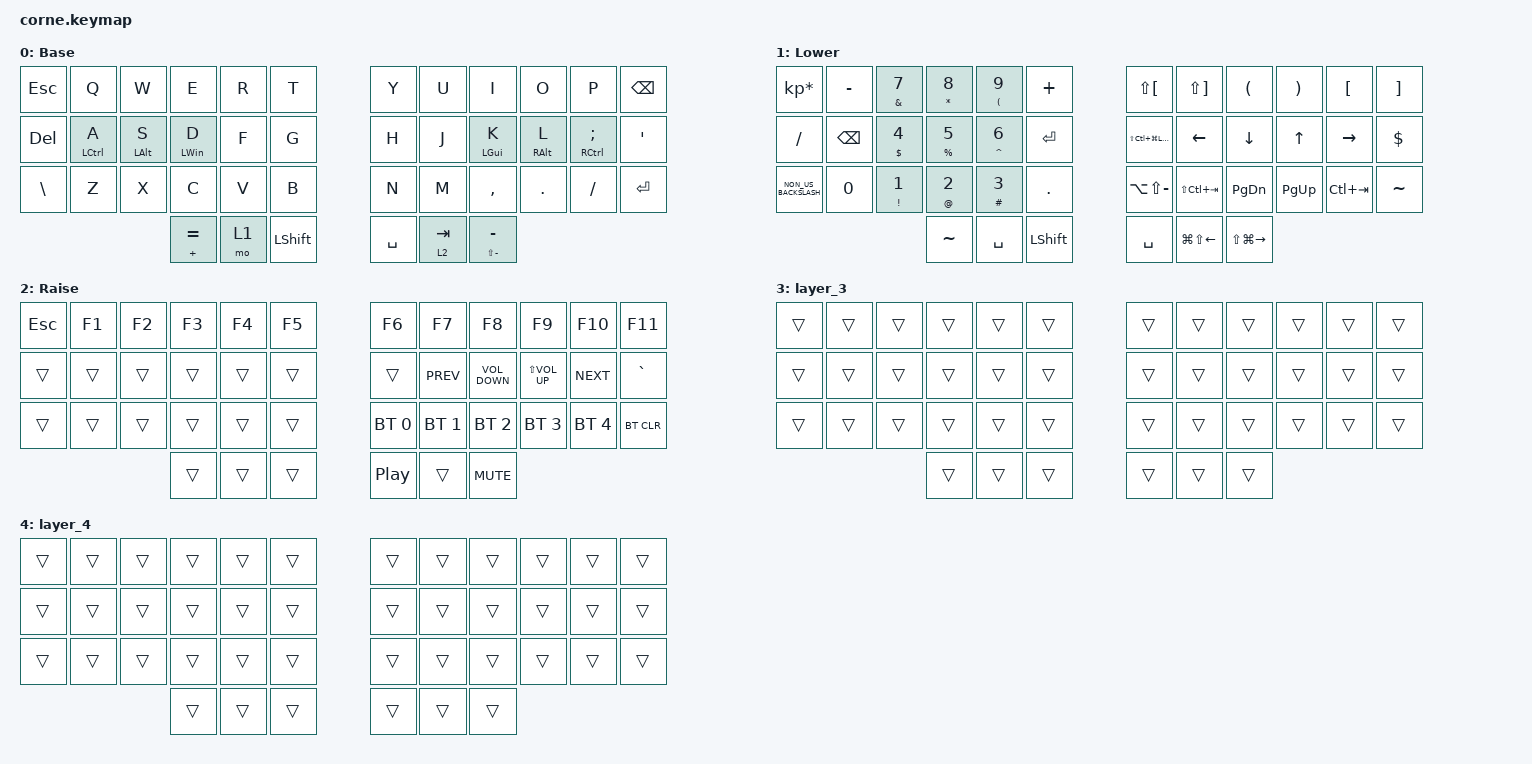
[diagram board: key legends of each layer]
/*
 * Copyright (c) 2020 The ZMK Contributors
 *
 * SPDX-License-Identifier: MIT
 */

#include <behaviors.dtsi>
#include <dt-bindings/zmk/bt.h>
#include <dt-bindings/zmk/keys.h>

&pinctrl {
    spi0_default: spi0_default {
        group1 {
            psels = <NRF_PSEL(SPIM_SCK, 0, 20)>,
                    <NRF_PSEL(SPIM_MOSI, 0, 17)>,
                    <NRF_PSEL(SPIM_MISO, 0, 25)>;
        };
    };

    spi0_sleep: spi0_sleep {
        group1 {
            psels = <NRF_PSEL(SPIM_SCK, 0, 20)>,
                    <NRF_PSEL(SPIM_MOSI, 0, 17)>,
                    <NRF_PSEL(SPIM_MISO, 0, 25)>;
            low-power-enable;
        };
    };
};

&nice_view_spi {
    status = "okay";
    compatible = "nordic,nrf-spim";
    pinctrl-0 = <&spi0_default>;
    pinctrl-1 = <&spi0_sleep>;
    pinctrl-names = "default", "sleep";
};

/ {
    behaviors {
        HMR: HMR {
            compatible = "zmk,behavior-hold-tap";
            label = "HMR";
            bindings = <&kp>, <&kp>;

            #binding-cells = <2>;
            tapping-term-ms = <280>;
            quick-tap-ms = <175>;
            flavor = "tap-preferred";
            hold-trigger-key-positions = <0 1 2 3 4 5 12 13 14 15 16 17 24 25 26 27 28 29 36 37 38 39 40 41>;
            hold-trigger-on-release;
        };

        HML: HML {
            compatible = "zmk,behavior-hold-tap";
            label = "HML";
            bindings = <&kp>, <&kp>;

            #binding-cells = <2>;
            tapping-term-ms = <280>;
            quick-tap-ms = <175>;
            flavor = "tap-preferred";
            hold-trigger-on-release;
            hold-trigger-key-positions = <36 37 38 6 7 8 9 10 11 18 19 20 21 22 23 30 31 32 33 34 35 39 40 41>;
        };
    };

    keymap {
        compatible = "zmk,keymap";

        default_layer {
            // -----------------------------------------------------------------------------------------
            // |  TAB |  Q  |  W  |  E  |  R  |  T  |   |  Y  |  U   |  I  |  O  |  P  | BKSP |
            // | CTRL |  A  |  S  |  D  |  F  |  G  |   |  H  |  J   |  K  |  L  |  ;  |  '   |
            // | SHFT |  Z  |  X  |  C  |  V  |  B  |   |  N  |  M   |  ,  |  .  |  /  | ESC  |
            //                    | GUI | LWR | SPC |   | ENT | RSE  | ALT |

            display-name = "Base";
            bindings = <
&kp ESCAPE     &kp Q                &kp W            &kp E            &kp R  &kp T             &kp Y      &kp U      &kp I                 &kp O             &kp P                         &kp BSPC
&kp DEL        &HML LEFT_CONTROL A  &HML LEFT_ALT S  &HML LEFT_WIN D  &kp F  &kp G             &kp H      &kp J      &HMR LEFT_GUI K       &HMR RIGHT_ALT L  &HMR RIGHT_CONTROL SEMICOLON  &kp SQT
&kp BACKSLASH  &kp Z                &kp X            &kp C            &kp V  &kp B             &kp N      &kp M      &kp COMMA             &kp DOT           &kp FSLH                      &kp ENTER
                                                     &HML PLUS EQUAL  &mo 1  &kp LEFT_SHIFT    &kp SPACE  &lt 2 TAB  &HMR LS(MINUS) MINUS
            >;
        };

        lower_layer {
            // -----------------------------------------------------------------------------------------
            // |  TAB |  1  |  2  |  3  |  4  |  5  |   |  6  |  7  |  8  |  9  |  0  | BKSP |
            // | BTCLR| BT1 | BT2 | BT3 | BT4 | BT5 |   | LFT | DWN |  UP | RGT |     |      |
            // | SHFT |     |     |     |     |     |   |     |     |     |     |     |      |
            //                    | GUI |     | SPC |   | ENT |     | ALT |

            display-name = "Lower";
            bindings = <
&kp KP_MULTIPLY       &kp MINUS      &mt AMPERSAND N7          &mt ASTERISK N8       &mt LEFT_PARENTHESIS N9  &kp PLUS          &kp LS(LEFT_BRACKET)      &kp LS(RIGHT_BRACKET)  &kp LEFT_PARENTHESIS  &kp RIGHT_PARENTHESIS  &kp LEFT_BRACKET  &kp RIGHT_BRACKET
&kp SLASH             &kp BACKSPACE  &mt DOLLAR NUMBER_4       &mt PERCENT N5        &mt CARET NUMBER_6       &kp ENTER         &kp LS(LC(LG(LEFT_ALT)))  &kp LEFT               &kp DOWN              &kp UP_ARROW           &kp RIGHT_ARROW   &kp DOLLAR
&kp NON_US_BACKSLASH  &kp N0         &mt EXCLAMATION NUMBER_1  &mt AT_SIGN NUMBER_2  &mt HASH NUMBER_3        &kp PERIOD        &kp LA(LS(MINUS))         &kp LS(LC(TAB))        &kp PAGE_DOWN         &kp PG_UP              &kp LC(TAB)       &kp TILDE
                                                               &kp TILDE             &kp SPACE                &kp LEFT_SHIFT    &kp SPACE                 &kp LG(LS(LEFT))       &kp LS(LG(RIGHT))
            >;
        };

        raise_layer {
            // -----------------------------------------------------------------------------------------
            // |  TAB |  !  |  @  |  #  |  $  |  %  |   |  ^  |  &  |  *  |  (  |  )  | BKSP |
            // | CTRL |     |     |     |     |     |   |  -  |  =  |  [  |  ]  |  \  |  `   |
            // | SHFT |     |     |     |     |     |   |  _  |  +  |  {  |  }  | "|" |  ~   |
            //                    | GUI |     | SPC |   | ENT |     | ALT |

            display-name = "Raise";
            bindings = <
&kp ESC  &kp F1  &kp F2  &kp F3  &kp F4  &kp F5    &kp F6            &kp F7        &kp F8             &kp F9            &kp F10       &kp F11
&trans   &trans  &trans  &trans  &trans  &trans    &trans            &kp C_PREV    &kp K_VOLUME_DOWN  &kp LS(K_VOL_UP)  &kp C_NEXT    &kp GRAVE
&trans   &trans  &trans  &trans  &trans  &trans    &bt BT_SEL 0      &bt BT_SEL 1  &bt BT_SEL 2       &bt BT_SEL 3      &bt BT_SEL 4  &bt BT_CLR
                         &trans  &trans  &trans    &kp C_PLAY_PAUSE  &trans        &kp C_MUTE
            >;
        };

        layer_3 {
            bindings = <
&trans  &trans  &trans  &trans  &trans  &trans    &trans  &trans  &trans  &trans  &trans  &trans
&trans  &trans  &trans  &trans  &trans  &trans    &trans  &trans  &trans  &trans  &trans  &trans
&trans  &trans  &trans  &trans  &trans  &trans    &trans  &trans  &trans  &trans  &trans  &trans
                        &trans  &trans  &trans    &trans  &trans  &trans
            >;
        };

        layer_4 {
            bindings = <
&trans  &trans  &trans  &trans  &trans  &trans    &trans  &trans  &trans  &trans  &trans  &trans
&trans  &trans  &trans  &trans  &trans  &trans    &trans  &trans  &trans  &trans  &trans  &trans
&trans  &trans  &trans  &trans  &trans  &trans    &trans  &trans  &trans  &trans  &trans  &trans
                        &trans  &trans  &trans    &trans  &trans  &trans
            >;
        };
    };
};
